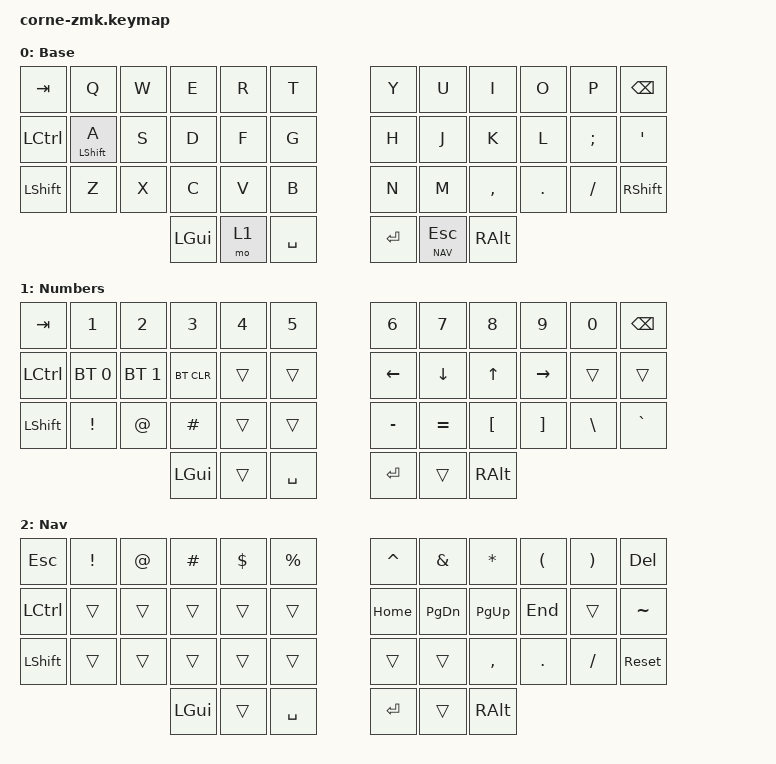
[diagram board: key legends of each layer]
/*
 * A sample ZMK keymap for a Corne (crkbd shield): three layers, two combos and a custom
 * home-row hold-tap, in the shape of the stock shield keymap. Render it with
 *     python keymap-imgen.py plain samples/corne-zmk.keymap --board corne42
 * or drop it on the web page.
 */

#include <behaviors.dtsi>
#include <dt-bindings/zmk/keys.h>
#include <dt-bindings/zmk/bt.h>

#define NAV 2

/ {
    behaviors {
        hml: home_row_mod_left {
            compatible = "zmk,behavior-hold-tap";
            #binding-cells = <2>;
            flavor = "balanced";
            tapping-term-ms = <200>;
            bindings = <&kp>, <&kp>;
        };
    };

    combos {
        compatible = "zmk,combos";
        combo_esc {
            timeout-ms = <50>;
            key-positions = <19 20>;
            bindings = <&kp ESC>;
        };
        combo_nav {
            timeout-ms = <50>;
            key-positions = <16 19>;
            bindings = <&mo NAV>;
            layers = <0>;
        };
    };

    keymap {
        compatible = "zmk,keymap";

        default_layer {
            display-name = "Base";
            bindings = <
&kp TAB    &kp Q         &kp W  &kp E     &kp R  &kp T        &kp Y    &kp U        &kp I      &kp O    &kp P     &kp BSPC
&kp LCTRL  &hml LSHFT A  &kp S  &kp D     &kp F  &kp G        &kp H    &kp J        &kp K      &kp L    &kp SEMI  &kp SQT
&kp LSHFT  &kp Z         &kp X  &kp C     &kp V  &kp B        &kp N    &kp M        &kp COMMA  &kp DOT  &kp FSLH  &kp RSHFT
                                &kp LGUI  &mo 1  &kp SPACE    &kp RET  &lt NAV ESC  &kp RALT
            >;
        };

        lower_layer {
            display-name = "Numbers";
            bindings = <
&kp TAB    &kp N1        &kp N2        &kp N3        &kp N4  &kp N5    &kp N6    &kp N7  &kp N8  &kp N9    &kp N0  &kp BSPC
&kp LCTRL  &bt BT_SEL 0  &bt BT_SEL 1  &bt BT_CLR    &trans  &trans    &kp LEFT  &kp DOWN  &kp UP  &kp RIGHT  &trans  &trans
&kp LSHFT  &kp EXCL      &kp AT        &kp HASH      &trans  &trans    &kp MINUS  &kp EQUAL  &kp LBKT  &kp RBKT  &kp BSLH  &kp GRAVE
                                       &kp LGUI      &trans  &kp SPACE    &kp RET  &trans  &kp RALT
            >;
        };

        raise_layer {
            display-name = "Nav";
            bindings = <
&kp ESC    &kp EXCL  &kp AT    &kp HASH  &kp DLLR  &kp PRCNT    &kp CARET  &kp AMPS  &kp STAR  &kp LPAR  &kp RPAR  &kp DEL
&kp LCTRL  &trans    &trans    &trans    &trans    &trans       &kp HOME   &kp PG_DN  &kp PG_UP  &kp END  &trans  &kp TILDE
&kp LSHFT  &trans    &trans    &trans    &trans    &trans       &trans     &trans    &kp COMMA  &kp DOT  &kp FSLH  &sys_reset
                               &kp LGUI  &trans    &kp SPACE    &kp RET    &trans    &kp RALT
            >;
        };
    };
};
